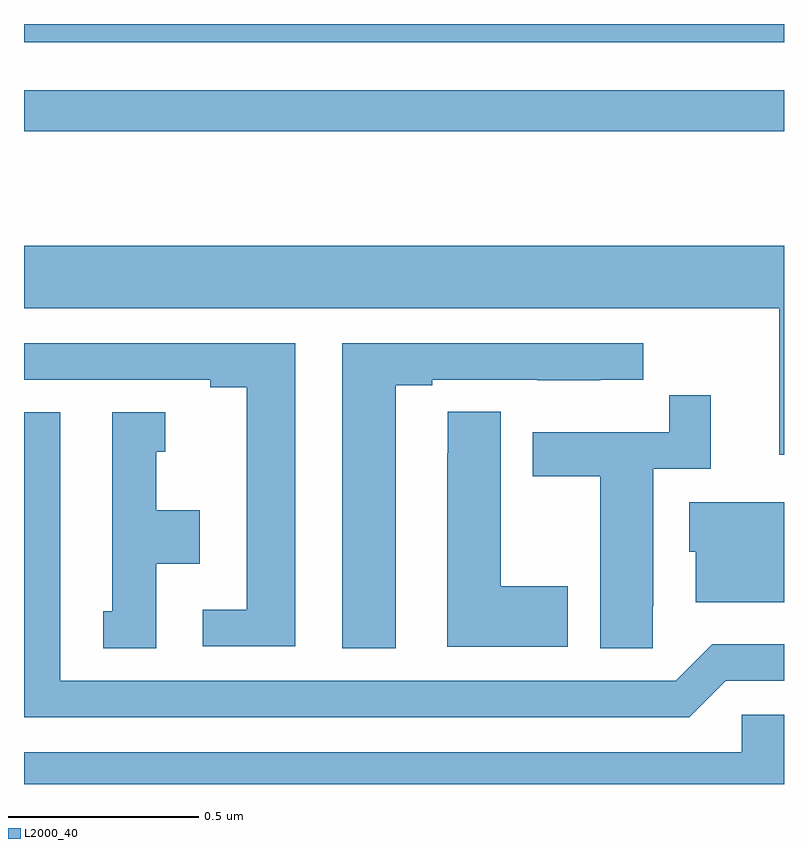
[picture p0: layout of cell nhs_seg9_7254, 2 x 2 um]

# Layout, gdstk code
import gdstk
lib = gdstk.Library(unit=1e-6, precision=1e-09)
def R(c, l, rs):  # rectangles x0, y0, x1, y1
    for r in rs: c.add(gdstk.rectangle(r[:2], r[2:], *l))
def P(c, l, *ps):  # polygons
    for p in ps: c.add(gdstk.Polygon(p, *l))
L2000_40 = (2000, 40)

nhs_seg9_7254 = lib.new_cell('nhs_seg9_7254')
R(nhs_seg9_7254, L2000_40, [(202,1198.218,204,1198.326), (202,1198.452,204,1198.5)])
P(nhs_seg9_7254, L2000_40, [(204,1197.916),(202,1197.916),(202,1197.752),(203.987,1197.752),(203.987,1197.366),(204,1197.366)],
  [(202.978,1197.549),(203.074,1197.549),(203.074,1197.564),(203.35,1197.564),(203.35,1197.563),(203.516,1197.563),(203.516,1197.564),(203.629,1197.564),(203.629,1197.66),(202.838,1197.66),(202.838,1196.857),(202.978,1196.857)],
  [(202.714,1197.66),(202,1197.66),(202,1197.564),(202.49,1197.564),(202.49,1197.544),(202.586,1197.544),(202.586,1196.958),(202.47,1196.958),(202.47,1196.862),(202.714,1196.862)],
  [(203.655,1196.968),(203.656,1196.968),(203.656,1197.33),(203.807,1197.33),(203.807,1197.523),(203.698,1197.523),(203.698,1197.426),(203.339,1197.426),(203.339,1197.31),(203.516,1197.31),(203.516,1196.857),(203.655,1196.857)],
  [(203.431,1197.021),(203.254,1197.021),(203.254,1197.479),(203.115,1197.479),(203.115,1197.371),(203.114,1197.371),(203.114,1196.861),(203.431,1196.861)],
  [(202.348,1197.08),(202.462,1197.08),(202.462,1197.22),(202.348,1197.22),(202.348,1197.375),(202.372,1197.375),(202.372,1197.478),(202.232,1197.478),(202.232,1196.955),(202.208,1196.955),(202.208,1196.857),(202.348,1196.857)],
  [(203.847,1196.772),(204,1196.772),(204,1196.868),(203.811,1196.868),(203.715,1196.772),(202.096,1196.772),(202.096,1197.478),(202,1197.478),(202,1196.676),(203.751,1196.676)],
  [(204,1197.241),(203.75,1197.241),(203.75,1197.111),(203.768,1197.111),(203.768,1196.978),(204,1196.978)],
  [(204,1196.682),(203.889,1196.682),(203.889,1196.584),(202,1196.584),(202,1196.5),(204,1196.5)])

lib.write_gds('nhs_seg9_7254.gds')
